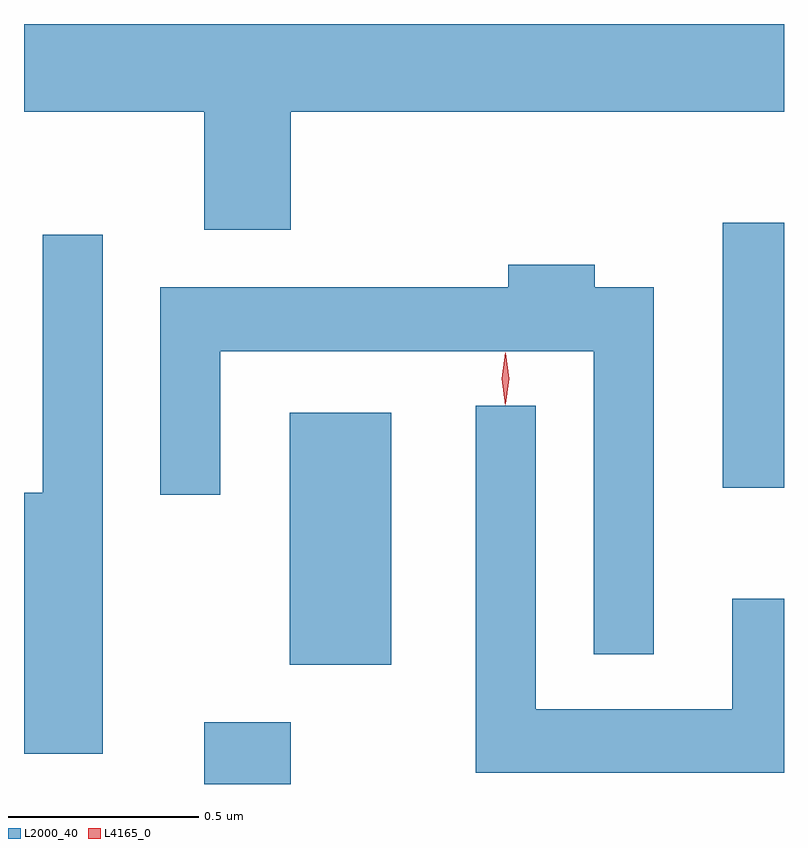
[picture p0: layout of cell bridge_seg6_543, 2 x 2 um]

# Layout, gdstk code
import gdstk
lib = gdstk.Library(unit=1e-6, precision=1e-09)
def R(c, l, rs):  # rectangles x0, y0, x1, y1
    for r in rs: c.add(gdstk.rectangle(r[:2], r[2:], *l))
def P(c, l, *ps):  # polygons
    for p in ps: c.add(gdstk.Polygon(p, *l))
L2000_40 = (2000, 40)
L4165_0 = (4165, 0)

bridge_seg6_543 = lib.new_cell('bridge_seg6_543')
R(bridge_seg6_543, L2000_40, [(540.641,1639.287,540.869,1639.449), (540.866,1639.601,541.134,1640.264), (542.006,1640.066,542.167,1640.764)])
P(bridge_seg6_543, L2000_40, [(540.869,1641.056),(542.167,1641.056),(542.167,1641.287),(540.167,1641.287),(540.167,1641.056),(540.641,1641.056),(540.641,1640.746),(540.869,1640.746)],
  [(540.374,1640.733),(540.216,1640.733),(540.216,1640.054),(540.167,1640.054),(540.167,1639.366),(540.374,1639.366)],
  [(541.824,1640.594),(541.669,1640.594),(541.669,1640.654),(541.441,1640.654),(541.441,1640.594),(540.526,1640.594),(540.526,1640.048),(540.684,1640.048),(540.684,1640.426),(541.666,1640.426),(541.666,1639.628),(541.824,1639.628)],
  [(542.167,1639.774),(542.031,1639.774),(542.031,1639.484),(541.514,1639.484),(541.514,1640.283),(541.356,1640.283),(541.356,1639.316),(542.167,1639.316)])
P(bridge_seg6_543, L4165_0, [(541.434,1640.287),(541.434,1640.288),(541.424,1640.354),(541.434,1640.42),(541.434,1640.42),(541.435,1640.42),(541.444,1640.354),(541.435,1640.288)],
  [(541.433,1640.284),(541.424,1640.353),(541.433,1640.422),(541.434,1640.423),(541.434,1640.422),(541.444,1640.353),(541.434,1640.284),(541.434,1640.284)])

lib.write_gds('bridge_seg6_543.gds')
